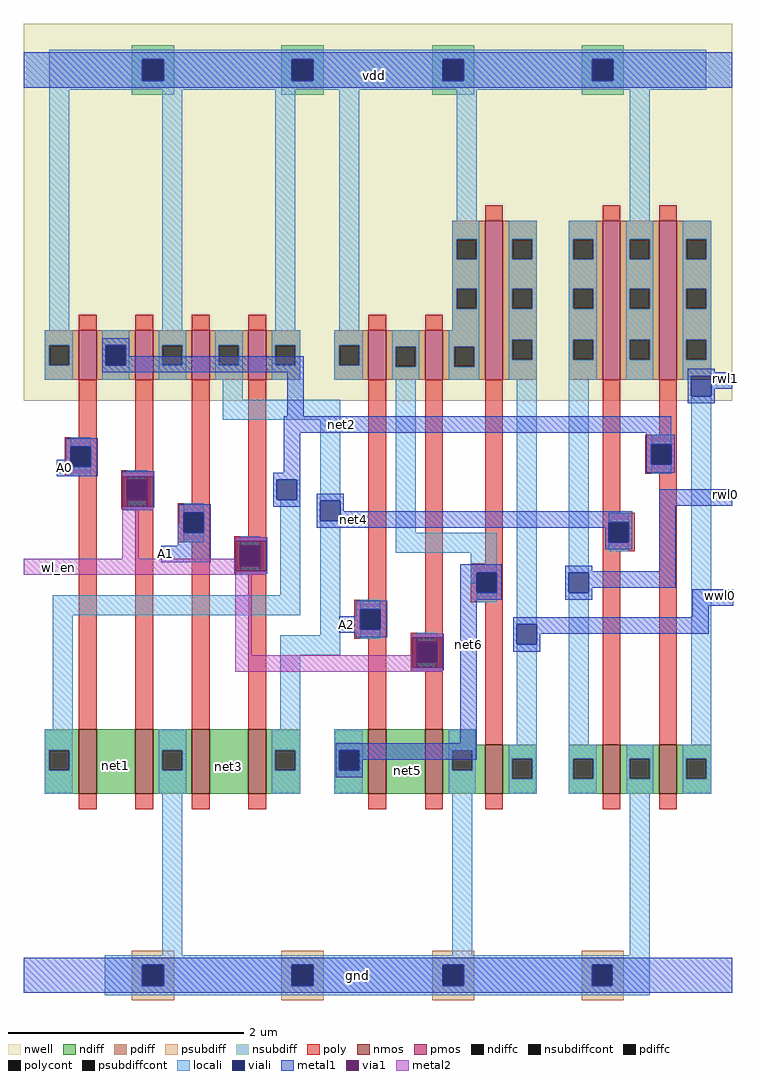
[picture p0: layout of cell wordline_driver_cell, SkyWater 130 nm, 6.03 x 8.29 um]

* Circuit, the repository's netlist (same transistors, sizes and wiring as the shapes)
* SPICE3 file created from wordline_driver_cell.ext - technology: sky130A



.subckt wordline_driver_cell A0 A1 A2 wl_en rwl0 rwl1 wwl0 vdd gnd
X0 vdd net4 rwl0 vdd sky130_fd_pr__pfet_01v8 ad=0 pd=0 as=0 ps=0 w=1.35 l=0.15
X1 net5 A2 net6 gnd sky130_fd_pr__nfet_01v8 ad=0 pd=0 as=0 ps=0 w=0.55 l=0.15
X2 vdd wl_en net2 vdd sky130_fd_pr__pfet_01v8 ad=0 pd=0 as=0 ps=0 w=0.42 l=0.15
X3 gnd net4 rwl0 gnd sky130_fd_pr__nfet_01v8 ad=0 pd=0 as=0 ps=0 w=0.42 l=0.15
X4 wwl0 net6 vdd vdd sky130_fd_pr__pfet_01v8 ad=0 pd=0 as=0 ps=0 w=1.35 l=0.15
X5 gnd wl_en net1 gnd sky130_fd_pr__nfet_01v8 ad=0 pd=0 as=0 ps=0 w=0.55 l=0.15
X6 net4 A1 vdd vdd sky130_fd_pr__pfet_01v8 ad=0 pd=0 as=0 ps=0 w=0.42 l=0.15
X7 vdd wl_en net6 vdd sky130_fd_pr__pfet_01v8 ad=0 pd=0 as=0 ps=0 w=0.42 l=0.15
X8 wwl0 net6 gnd gnd sky130_fd_pr__nfet_01v8 ad=0 pd=0 as=0 ps=0 w=0.42 l=0.15
X9 net3 A1 gnd gnd sky130_fd_pr__nfet_01v8 ad=0 pd=0 as=0 ps=0 w=0.55 l=0.15
X10 gnd wl_en net5 gnd sky130_fd_pr__nfet_01v8 ad=0 pd=0 as=0 ps=0 w=0.55 l=0.15
X11 rwl1 net2 vdd vdd sky130_fd_pr__pfet_01v8 ad=0 pd=0 as=0 ps=0 w=1.35 l=0.15
X12 net2 A0 vdd vdd sky130_fd_pr__pfet_01v8 ad=0 pd=0 as=0 ps=0 w=0.42 l=0.15
X13 vdd wl_en net4 vdd sky130_fd_pr__pfet_01v8 ad=0 pd=0 as=0 ps=0 w=0.42 l=0.15
X14 net6 A2 vdd vdd sky130_fd_pr__pfet_01v8 ad=0 pd=0 as=0 ps=0 w=0.42 l=0.15
X15 rwl1 net2 gnd gnd sky130_fd_pr__nfet_01v8 ad=0 pd=0 as=0 ps=0 w=0.42 l=0.15
X16 net1 A0 net2 gnd sky130_fd_pr__nfet_01v8 ad=0 pd=0 as=0 ps=0 w=0.55 l=0.15
X17 net4 wl_en net3 gnd sky130_fd_pr__nfet_01v8 ad=0 pd=0 as=0 ps=0 w=0.55 l=0.15
.ends

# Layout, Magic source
magic
tech sky130A
<< nwell >>
rect 0 488 602 808
<< nmos >>
rect 47 154 62 209
rect 95 154 110 209
rect 143 154 158 209
rect 191 154 206 209
rect 293 154 308 209
rect 341 154 356 209
rect 392 154 407 196
rect 492 154 507 196
rect 540 154 555 196
<< pmos >>
rect 47 506 62 548
rect 95 506 110 548
rect 143 506 158 548
rect 191 506 206 548
rect 293 506 308 548
rect 341 506 356 548
rect 392 506 407 641
rect 492 506 507 641
rect 540 506 555 641
<< ndiff >>
rect 18 191 47 209
rect 18 174 22 191
rect 39 174 47 191
rect 18 154 47 174
rect 62 154 95 209
rect 110 191 143 209
rect 110 174 118 191
rect 135 174 143 191
rect 110 154 143 174
rect 158 154 191 209
rect 206 191 235 209
rect 206 174 214 191
rect 231 174 235 191
rect 206 154 235 174
rect 264 191 293 209
rect 264 174 268 191
rect 285 174 293 191
rect 264 154 293 174
rect 308 154 341 209
rect 356 196 384 209
rect 356 191 392 196
rect 356 174 364 191
rect 381 174 392 191
rect 356 154 392 174
rect 407 184 436 196
rect 407 167 415 184
rect 432 167 436 184
rect 407 154 436 167
rect 463 184 492 196
rect 463 167 467 184
rect 484 167 492 184
rect 463 154 492 167
rect 507 184 540 196
rect 507 167 515 184
rect 532 167 540 184
rect 507 154 540 167
rect 555 184 584 196
rect 555 167 563 184
rect 580 167 584 184
rect 555 154 584 167
<< pdiff >>
rect 364 625 392 641
rect 364 608 368 625
rect 385 608 392 625
rect 364 583 392 608
rect 364 566 368 583
rect 385 566 392 583
rect 364 548 392 566
rect 18 535 47 548
rect 18 518 22 535
rect 39 518 47 535
rect 18 506 47 518
rect 62 535 95 548
rect 62 518 70 535
rect 87 518 95 535
rect 62 506 95 518
rect 110 535 143 548
rect 110 518 118 535
rect 135 518 143 535
rect 110 506 143 518
rect 158 535 191 548
rect 158 518 166 535
rect 183 518 191 535
rect 158 506 191 518
rect 206 535 235 548
rect 206 518 214 535
rect 231 518 235 535
rect 206 506 235 518
rect 264 535 293 548
rect 264 518 268 535
rect 285 518 293 535
rect 264 506 293 518
rect 308 534 341 548
rect 308 517 316 534
rect 333 517 341 534
rect 308 506 341 517
rect 356 534 392 548
rect 356 517 366 534
rect 383 517 392 534
rect 356 506 392 517
rect 407 625 436 641
rect 407 608 415 625
rect 432 608 436 625
rect 407 583 436 608
rect 407 566 415 583
rect 432 566 436 583
rect 407 540 436 566
rect 407 523 415 540
rect 432 523 436 540
rect 407 506 436 523
rect 463 625 492 641
rect 463 608 467 625
rect 484 608 492 625
rect 463 583 492 608
rect 463 566 467 583
rect 484 566 492 583
rect 463 540 492 566
rect 463 523 467 540
rect 484 523 492 540
rect 463 506 492 523
rect 507 625 540 641
rect 507 608 515 625
rect 532 608 540 625
rect 507 583 540 608
rect 507 566 515 583
rect 532 566 540 583
rect 507 540 540 566
rect 507 523 515 540
rect 532 523 540 540
rect 507 506 540 523
rect 555 625 584 641
rect 555 608 563 625
rect 580 608 584 625
rect 555 583 584 608
rect 555 566 563 583
rect 580 566 584 583
rect 555 540 584 566
rect 555 523 563 540
rect 580 523 584 540
rect 555 506 584 523
<< ndiffc >>
rect 22 174 39 191
rect 118 174 135 191
rect 214 174 231 191
rect 268 174 285 191
rect 364 174 381 191
rect 415 167 432 184
rect 467 167 484 184
rect 515 167 532 184
rect 563 167 580 184
<< pdiffc >>
rect 368 608 385 625
rect 368 566 385 583
rect 22 518 39 535
rect 70 518 87 535
rect 118 518 135 535
rect 166 518 183 535
rect 214 518 231 535
rect 268 518 285 535
rect 316 517 333 534
rect 366 517 383 534
rect 415 608 432 625
rect 415 566 432 583
rect 415 523 432 540
rect 467 608 484 625
rect 467 566 484 583
rect 467 523 484 540
rect 515 608 532 625
rect 515 566 532 583
rect 515 523 532 540
rect 563 608 580 625
rect 563 566 580 583
rect 563 523 580 540
<< psubdiff >>
rect 92 9 128 21
rect 92 -9 101 9
rect 119 -9 128 9
rect 92 -21 128 -9
rect 219 9 255 21
rect 219 -9 228 9
rect 246 -9 255 9
rect 219 -21 255 -9
rect 347 9 383 21
rect 347 -9 356 9
rect 374 -9 383 9
rect 347 -21 383 -9
rect 474 9 510 21
rect 474 -9 483 9
rect 500 -9 510 9
rect 474 -21 510 -9
<< nsubdiff >>
rect 92 778 128 790
rect 92 760 101 778
rect 119 760 128 778
rect 92 748 128 760
rect 219 778 255 790
rect 219 760 228 778
rect 246 760 255 778
rect 219 748 255 760
rect 347 778 383 790
rect 347 760 356 778
rect 374 760 383 778
rect 347 748 383 760
rect 474 778 510 790
rect 474 760 483 778
rect 501 760 510 778
rect 474 748 510 760
<< psubdiffcont >>
rect 101 -9 119 9
rect 228 -9 246 9
rect 356 -9 374 9
rect 483 -9 500 9
<< nsubdiffcont >>
rect 101 760 119 778
rect 228 760 246 778
rect 356 760 374 778
rect 483 760 501 778
<< poly >>
rect 392 641 407 654
rect 492 641 507 654
rect 540 641 555 654
rect 47 548 62 561
rect 95 548 110 561
rect 143 548 158 561
rect 191 548 206 561
rect 293 548 308 561
rect 341 548 356 561
rect 47 457 62 506
rect 35 449 62 457
rect 35 432 40 449
rect 57 432 62 449
rect 35 424 62 432
rect 95 429 110 506
rect 47 209 62 424
rect 83 421 110 429
rect 83 404 88 421
rect 105 404 110 421
rect 83 396 110 404
rect 143 401 158 506
rect 95 209 110 396
rect 131 393 158 401
rect 131 376 136 393
rect 153 376 158 393
rect 131 368 158 376
rect 191 373 206 506
rect 143 209 158 368
rect 179 365 206 373
rect 179 348 184 365
rect 201 348 206 365
rect 179 340 206 348
rect 191 209 206 340
rect 293 319 308 506
rect 281 311 308 319
rect 281 294 286 311
rect 303 294 308 311
rect 281 286 308 294
rect 341 291 356 506
rect 392 350 407 506
rect 380 342 407 350
rect 380 325 385 342
rect 402 325 407 342
rect 380 317 407 325
rect 293 209 308 286
rect 329 283 356 291
rect 329 266 334 283
rect 351 266 356 283
rect 329 258 356 266
rect 341 209 356 258
rect 392 196 407 317
rect 492 393 507 506
rect 540 459 555 506
rect 528 451 555 459
rect 528 434 533 451
rect 550 434 555 451
rect 528 426 555 434
rect 492 385 519 393
rect 492 368 497 385
rect 514 368 519 385
rect 492 360 519 368
rect 492 196 507 360
rect 540 196 555 426
rect 47 141 62 154
rect 95 141 110 154
rect 143 141 158 154
rect 191 141 206 154
rect 293 141 308 154
rect 341 141 356 154
rect 392 141 407 154
rect 492 141 507 154
rect 540 141 555 154
<< polycont >>
rect 40 432 57 449
rect 88 404 105 421
rect 136 376 153 393
rect 184 348 201 365
rect 286 294 303 311
rect 385 325 402 342
rect 334 266 351 283
rect 533 434 550 451
rect 497 368 514 385
<< locali >>
rect 22 778 580 786
rect 22 760 101 778
rect 119 760 228 778
rect 246 760 356 778
rect 374 760 483 778
rect 501 760 580 778
rect 22 752 580 760
rect 22 548 39 752
rect 118 548 135 752
rect 214 548 231 752
rect 268 548 285 752
rect 368 641 385 752
rect 515 641 532 752
rect 364 625 387 641
rect 364 608 368 625
rect 385 608 387 625
rect 364 583 387 608
rect 364 566 368 583
rect 385 566 387 583
rect 364 548 387 566
rect 18 535 42 548
rect 18 518 22 535
rect 39 518 42 535
rect 18 506 42 518
rect 67 535 90 548
rect 67 518 70 535
rect 87 518 90 535
rect 67 506 90 518
rect 115 535 138 548
rect 115 518 118 535
rect 135 518 138 535
rect 115 506 138 518
rect 163 535 186 548
rect 163 518 166 535
rect 183 518 186 535
rect 163 506 186 518
rect 211 535 235 548
rect 211 518 214 535
rect 231 518 235 535
rect 211 506 235 518
rect 264 535 288 548
rect 264 518 268 535
rect 285 518 288 535
rect 264 506 288 518
rect 313 534 336 548
rect 313 517 316 534
rect 333 517 336 534
rect 313 506 336 517
rect 361 534 387 548
rect 361 517 366 534
rect 383 517 387 534
rect 361 506 387 517
rect 412 625 436 641
rect 412 608 415 625
rect 432 608 436 625
rect 412 583 436 608
rect 412 566 415 583
rect 432 566 436 583
rect 412 540 436 566
rect 412 523 415 540
rect 432 523 436 540
rect 412 506 436 523
rect 169 489 186 506
rect 169 472 269 489
rect 40 449 57 457
rect 40 424 57 432
rect 88 421 105 429
rect 232 404 235 421
rect 88 396 105 404
rect 136 393 153 401
rect 136 368 153 376
rect 184 365 201 373
rect 184 340 201 348
rect 218 323 235 404
rect 25 306 235 323
rect 252 403 269 472
rect 25 209 42 306
rect 252 289 269 386
rect 316 376 333 506
rect 316 359 402 376
rect 380 342 402 359
rect 380 333 385 342
rect 218 272 269 289
rect 286 311 303 319
rect 385 317 402 325
rect 286 286 303 294
rect 419 298 436 506
rect 334 283 351 291
rect 218 209 235 272
rect 334 258 351 266
rect 18 191 42 209
rect 18 174 22 191
rect 39 174 42 191
rect 18 154 42 174
rect 115 191 138 209
rect 115 174 118 191
rect 135 174 138 191
rect 115 154 138 174
rect 211 191 235 209
rect 211 174 214 191
rect 231 174 235 191
rect 211 154 235 174
rect 264 191 288 209
rect 264 174 268 191
rect 285 174 288 191
rect 264 154 288 174
rect 361 191 384 209
rect 419 196 436 281
rect 361 174 364 191
rect 381 174 384 191
rect 361 154 384 174
rect 412 184 436 196
rect 412 167 415 184
rect 432 167 436 184
rect 412 154 436 167
rect 463 625 487 641
rect 463 608 467 625
rect 484 608 487 625
rect 463 583 487 608
rect 463 566 467 583
rect 484 566 487 583
rect 463 540 487 566
rect 463 523 467 540
rect 484 523 487 540
rect 463 506 487 523
rect 512 625 535 641
rect 512 608 515 625
rect 532 608 535 625
rect 512 583 535 608
rect 512 566 515 583
rect 532 566 535 583
rect 512 540 535 566
rect 512 523 515 540
rect 532 523 535 540
rect 512 506 535 523
rect 560 625 584 641
rect 560 608 563 625
rect 580 608 584 625
rect 560 583 584 608
rect 560 566 563 583
rect 580 566 584 583
rect 560 540 584 566
rect 560 523 563 540
rect 580 523 584 540
rect 560 509 584 523
rect 560 506 567 509
rect 463 342 480 506
rect 533 451 550 459
rect 533 426 550 434
rect 497 385 514 393
rect 497 360 514 368
rect 463 196 480 325
rect 567 196 584 492
rect 463 184 487 196
rect 463 167 467 184
rect 484 167 487 184
rect 463 154 487 167
rect 512 184 535 196
rect 512 167 515 184
rect 532 167 535 184
rect 512 154 535 167
rect 560 184 584 196
rect 560 167 563 184
rect 580 167 584 184
rect 560 154 584 167
rect 118 17 135 154
rect 364 17 381 154
rect 515 17 532 154
rect 69 9 532 17
rect 69 -9 101 9
rect 119 -9 228 9
rect 246 -9 356 9
rect 374 -9 483 9
rect 500 -9 532 9
rect 69 -17 532 -9
<< viali >>
rect 101 760 119 778
rect 228 760 246 778
rect 356 760 374 778
rect 483 760 501 778
rect 70 518 87 535
rect 40 432 57 449
rect 88 404 105 421
rect 215 404 232 421
rect 136 376 153 393
rect 184 348 201 365
rect 252 386 269 403
rect 385 325 402 342
rect 286 294 303 311
rect 334 266 351 283
rect 419 281 436 298
rect 268 174 285 191
rect 567 492 584 509
rect 533 434 550 451
rect 497 368 514 385
rect 463 325 480 342
rect 101 -9 119 9
rect 228 -9 246 9
rect 356 -9 374 9
rect 483 -9 500 9
<< metal1 >>
rect 0 778 602 784
rect 0 760 101 778
rect 119 760 228 778
rect 246 760 356 778
rect 374 760 483 778
rect 501 760 602 778
rect 0 754 602 760
rect 67 535 90 541
rect 67 518 70 535
rect 87 526 90 535
rect 87 518 238 526
rect 67 512 238 518
rect 224 475 238 512
rect 564 512 587 515
rect 564 509 602 512
rect 564 492 567 509
rect 584 498 602 509
rect 584 492 587 498
rect 564 486 587 492
rect 221 461 550 475
rect 36 449 63 456
rect 36 438 40 449
rect 28 432 40 438
rect 57 432 63 449
rect 28 424 63 432
rect 84 424 111 428
rect 221 427 235 461
rect 529 459 550 461
rect 529 451 553 459
rect 529 434 533 451
rect 550 434 553 451
rect 529 427 553 434
rect 110 398 111 424
rect 212 421 235 427
rect 212 404 215 421
rect 232 404 235 421
rect 84 397 111 398
rect 84 395 110 397
rect 132 393 159 400
rect 212 398 235 404
rect 249 403 272 409
rect 132 383 136 393
rect 131 376 136 383
rect 153 376 159 393
rect 249 386 252 403
rect 269 394 272 403
rect 540 399 602 413
rect 269 386 517 394
rect 249 385 517 386
rect 249 380 497 385
rect 131 365 159 376
rect 117 351 159 365
rect 180 369 207 372
rect 206 343 207 369
rect 494 368 497 380
rect 514 368 517 385
rect 494 362 517 368
rect 180 341 207 343
rect 371 342 406 349
rect 180 340 206 341
rect 371 325 385 342
rect 402 325 406 342
rect 371 319 406 325
rect 460 343 483 348
rect 540 343 554 399
rect 460 342 554 343
rect 460 325 463 342
rect 480 329 554 342
rect 480 325 483 329
rect 460 319 483 325
rect 282 311 309 318
rect 282 305 286 311
rect 268 294 286 305
rect 303 294 309 311
rect 268 291 309 294
rect 282 287 309 291
rect 330 287 357 290
rect 356 261 357 287
rect 330 259 357 261
rect 330 258 356 259
rect 371 197 385 319
rect 568 314 603 328
rect 568 304 582 314
rect 416 298 582 304
rect 416 281 419 298
rect 436 290 582 298
rect 436 281 439 290
rect 416 275 439 281
rect 265 191 385 197
rect 265 174 268 191
rect 285 183 385 191
rect 285 174 288 183
rect 265 168 288 174
rect 0 9 602 15
rect 0 -9 101 9
rect 119 -9 228 9
rect 246 -9 356 9
rect 374 -9 483 9
rect 500 -9 602 9
rect 0 -15 602 -9
<< via1 >>
rect 84 421 110 424
rect 84 404 88 421
rect 88 404 105 421
rect 105 404 110 421
rect 84 398 110 404
rect 180 365 206 369
rect 180 348 184 365
rect 184 348 201 365
rect 201 348 206 365
rect 180 343 206 348
rect 330 283 356 287
rect 330 266 334 283
rect 334 266 351 283
rect 351 266 356 283
rect 330 261 356 266
<< metal2 >>
rect 84 424 110 427
rect 84 395 110 398
rect 84 354 98 395
rect 180 369 206 372
rect 0 343 180 354
rect 0 340 206 343
rect 180 272 194 340
rect 330 287 356 290
rect 180 261 330 272
rect 180 258 356 261
<< labels >>
flabel metal1 35 431 35 431 0 FreeSans 80 0 0 0 A0
port 0 nsew
flabel ndiff 78 178 78 178 0 FreeSans 80 0 0 0 net1
flabel ndiff 174 177 174 177 0 FreeSans 80 0 0 0 net3
flabel ndiff 326 174 326 174 0 FreeSans 80 0 0 0 net5
flabel metal1 378 281 378 281 0 FreeSans 80 0 0 0 net6
flabel metal1 298 764 298 764 0 FreeSans 80 0 0 0 vdd
port 10 nsew
flabel metal1 284 0 284 0 0 FreeSans 80 0 0 0 gnd
port 11 nsew
flabel metal1 270 468 270 468 0 FreeSans 80 0 0 0 net2
flabel metal1 280 387 280 387 0 FreeSans 80 0 0 0 net4
flabel metal2 30 346 30 346 0 FreeSans 80 0 0 0 wl_en
port 16 nsew
flabel metal1 121 358 121 358 0 FreeSans 80 0 0 0 A1
port 17 nsew
flabel metal1 274 298 274 298 0 FreeSans 80 0 0 0 A2
port 18 nsew
flabel metal1 592 323 592 323 0 FreeSans 80 0 0 0 wwl0
port 21 nsew
flabel metal1 596 408 596 408 0 FreeSans 80 0 0 0 rwl0
port 20 nsew
flabel metal1 596 507 596 507 0 FreeSans 80 0 0 0 rwl1
port 22 nsew
<< properties >>
string FIXED_BBOX 0 0 603 769
<< end >>
